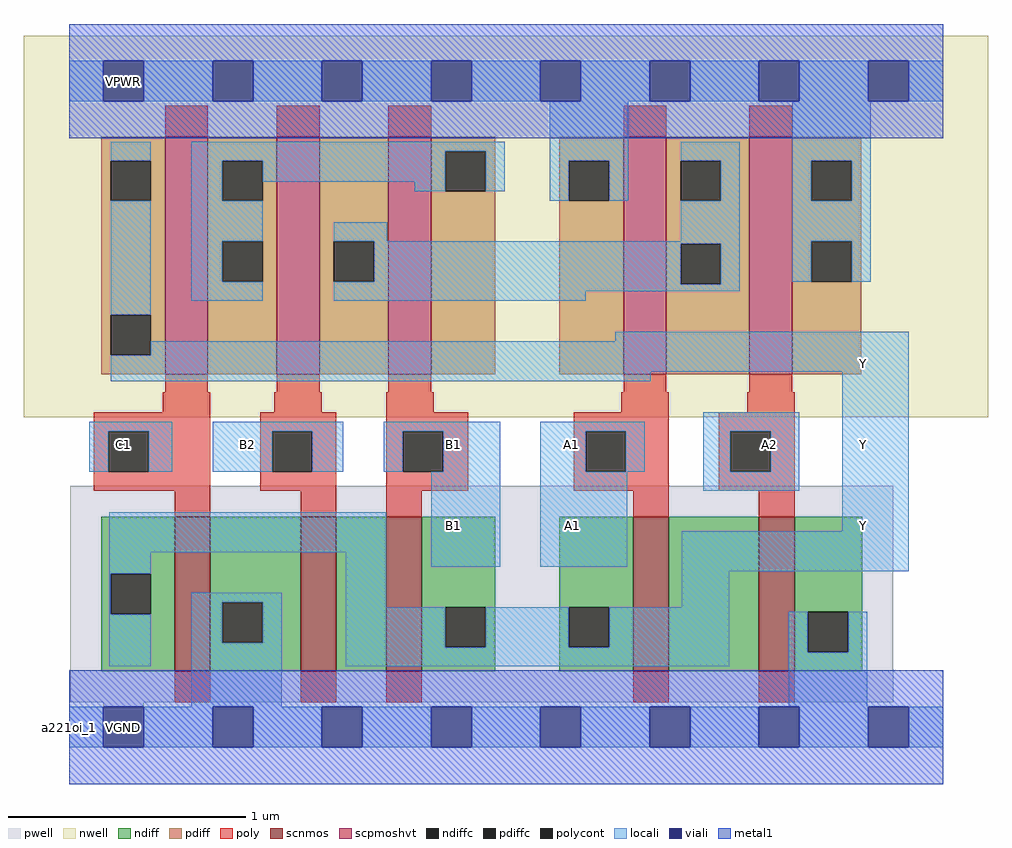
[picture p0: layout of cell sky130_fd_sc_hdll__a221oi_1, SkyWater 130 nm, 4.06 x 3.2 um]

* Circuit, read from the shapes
.subckt sky130_fd_sc_hdll__a221oi_1 A1 A2 B1 B2 C1 VGND VNB VPB VPWR Y
XM1 VGND C1 Y VNB sky130_fd_pr__nfet_01v8 w=0.65 l=0.15
XM2 n1 B2 VGND VNB sky130_fd_pr__nfet_01v8 w=0.65 l=0.15
XM3 Y B1 n1 VNB sky130_fd_pr__nfet_01v8 w=0.65 l=0.15
XM4 n2 A1 Y VNB sky130_fd_pr__nfet_01v8 w=0.65 l=0.15
XM5 VGND A2 n2 VNB sky130_fd_pr__nfet_01v8 w=0.65 l=0.15
XM6 n3 C1 Y VPB sky130_fd_pr__pfet_01v8_hvt w=1 l=0.18
XM7 n4 B2 n3 VPB sky130_fd_pr__pfet_01v8_hvt w=1 l=0.18
XM8 n3 B1 n4 VPB sky130_fd_pr__pfet_01v8_hvt w=1 l=0.18
XM9 n4 A1 VPWR VPB sky130_fd_pr__pfet_01v8_hvt w=1 l=0.18
XM10 VPWR A2 n4 VPB sky130_fd_pr__pfet_01v8_hvt w=1 l=0.18
.ends

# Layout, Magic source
magic
tech sky130A
magscale 1 2
<< nwell >>
rect -38 261 774 582
<< pwell >>
rect 1 21 694 203
rect 29 -17 63 21
<< scnmos >>
rect 89 47 119 177
rect 195 47 225 177
rect 267 47 297 177
rect 475 47 505 177
rect 581 47 611 177
<< scpmoshvt >>
rect 81 297 117 497
rect 175 297 211 497
rect 269 297 305 497
rect 467 297 503 497
rect 573 297 609 497
<< ndiff >>
rect 27 129 89 177
rect 27 95 35 129
rect 69 95 89 129
rect 27 47 89 95
rect 119 105 195 177
rect 119 71 129 105
rect 163 71 195 105
rect 119 47 195 71
rect 225 47 267 177
rect 297 101 359 177
rect 297 67 317 101
rect 351 67 359 101
rect 297 47 359 67
rect 413 101 475 177
rect 413 67 421 101
rect 455 67 475 101
rect 413 47 475 67
rect 505 47 581 177
rect 611 97 668 177
rect 611 63 622 97
rect 656 63 668 97
rect 611 47 668 63
<< pdiff >>
rect 27 477 81 497
rect 27 443 35 477
rect 69 443 81 477
rect 27 347 81 443
rect 27 313 35 347
rect 69 313 81 347
rect 27 297 81 313
rect 117 477 175 497
rect 117 443 129 477
rect 163 443 175 477
rect 117 409 175 443
rect 117 375 129 409
rect 163 375 175 409
rect 117 297 175 375
rect 211 409 269 497
rect 211 375 223 409
rect 257 375 269 409
rect 211 297 269 375
rect 305 485 359 497
rect 305 451 317 485
rect 351 451 359 485
rect 305 297 359 451
rect 413 477 467 497
rect 413 443 421 477
rect 455 443 467 477
rect 413 297 467 443
rect 503 477 573 497
rect 503 443 515 477
rect 549 443 573 477
rect 503 407 573 443
rect 503 373 515 407
rect 549 373 573 407
rect 503 297 573 373
rect 609 477 667 497
rect 609 443 625 477
rect 659 443 667 477
rect 609 409 667 443
rect 609 375 625 409
rect 659 375 667 409
rect 609 297 667 375
<< ndiffc >>
rect 35 95 69 129
rect 129 71 163 105
rect 317 67 351 101
rect 421 67 455 101
rect 622 63 656 97
<< pdiffc >>
rect 35 443 69 477
rect 35 313 69 347
rect 129 443 163 477
rect 129 375 163 409
rect 223 375 257 409
rect 317 451 351 485
rect 421 443 455 477
rect 515 443 549 477
rect 515 373 549 407
rect 625 443 659 477
rect 625 375 659 409
<< poly >>
rect 81 497 117 523
rect 175 497 211 523
rect 269 497 305 523
rect 467 497 503 523
rect 573 497 609 523
rect 81 282 117 297
rect 175 282 211 297
rect 269 282 305 297
rect 467 282 503 297
rect 573 282 609 297
rect 79 265 119 282
rect 173 265 213 282
rect 267 265 307 282
rect 465 265 505 282
rect 571 265 611 282
rect 21 249 119 265
rect 21 215 33 249
rect 67 215 119 249
rect 21 199 119 215
rect 161 249 225 265
rect 161 215 171 249
rect 205 215 225 249
rect 161 199 225 215
rect 89 177 119 199
rect 195 177 225 199
rect 267 249 336 265
rect 267 215 281 249
rect 315 215 336 249
rect 267 199 336 215
rect 425 249 505 265
rect 425 215 435 249
rect 469 215 505 249
rect 425 199 505 215
rect 547 249 611 265
rect 547 215 557 249
rect 591 215 611 249
rect 547 199 611 215
rect 267 177 297 199
rect 475 177 505 199
rect 581 177 611 199
rect 89 21 119 47
rect 195 21 225 47
rect 267 21 297 47
rect 475 21 505 47
rect 581 21 611 47
<< polycont >>
rect 33 215 67 249
rect 171 215 205 249
rect 281 215 315 249
rect 435 215 469 249
rect 557 215 591 249
<< locali >>
rect 0 527 29 561
rect 63 527 121 561
rect 155 527 213 561
rect 247 527 305 561
rect 339 527 397 561
rect 431 527 489 561
rect 523 527 581 561
rect 615 527 673 561
rect 707 527 736 561
rect 35 477 69 493
rect 35 347 69 443
rect 103 485 367 493
rect 103 477 317 485
rect 103 443 129 477
rect 163 459 317 477
rect 291 451 317 459
rect 351 451 367 485
rect 405 477 471 527
rect 405 443 421 477
rect 455 443 471 477
rect 515 477 565 493
rect 549 443 565 477
rect 103 409 163 443
rect 103 375 129 409
rect 103 359 163 375
rect 223 409 268 425
rect 515 409 565 443
rect 257 407 565 409
rect 257 375 515 407
rect 223 373 515 375
rect 549 373 565 407
rect 609 477 675 527
rect 609 443 625 477
rect 659 443 675 477
rect 609 409 675 443
rect 609 375 625 409
rect 659 375 675 409
rect 223 367 565 373
rect 223 359 435 367
rect 460 325 707 333
rect 69 313 707 325
rect 35 299 707 313
rect 35 291 490 299
rect 17 249 87 257
rect 17 215 33 249
rect 67 215 87 249
rect 121 249 231 257
rect 121 215 171 249
rect 205 215 231 249
rect 265 249 363 257
rect 265 215 281 249
rect 315 215 363 249
rect 34 147 267 181
rect 34 129 69 147
rect 34 95 35 129
rect 34 51 69 95
rect 103 105 179 113
rect 103 71 129 105
rect 163 71 179 105
rect 103 17 179 71
rect 233 101 267 147
rect 305 135 363 215
rect 397 249 485 257
rect 397 215 435 249
rect 469 215 485 249
rect 534 249 615 265
rect 534 215 557 249
rect 591 215 615 249
rect 397 135 470 215
rect 534 199 615 215
rect 651 165 707 299
rect 516 131 707 165
rect 516 101 556 131
rect 233 67 317 101
rect 351 67 421 101
rect 455 67 556 101
rect 233 51 556 67
rect 606 63 622 97
rect 656 63 672 97
rect 606 17 672 63
rect 0 -17 29 17
rect 63 -17 121 17
rect 155 -17 213 17
rect 247 -17 305 17
rect 339 -17 397 17
rect 431 -17 489 17
rect 523 -17 581 17
rect 615 -17 673 17
rect 707 -17 736 17
<< viali >>
rect 29 527 63 561
rect 121 527 155 561
rect 213 527 247 561
rect 305 527 339 561
rect 397 527 431 561
rect 489 527 523 561
rect 581 527 615 561
rect 673 527 707 561
rect 29 -17 63 17
rect 121 -17 155 17
rect 213 -17 247 17
rect 305 -17 339 17
rect 397 -17 431 17
rect 489 -17 523 17
rect 581 -17 615 17
rect 673 -17 707 17
<< metal1 >>
rect 0 561 736 592
rect 0 527 29 561
rect 63 527 121 561
rect 155 527 213 561
rect 247 527 305 561
rect 339 527 397 561
rect 431 527 489 561
rect 523 527 581 561
rect 615 527 673 561
rect 707 527 736 561
rect 0 496 736 527
rect 0 17 736 48
rect 0 -17 29 17
rect 63 -17 121 17
rect 155 -17 213 17
rect 247 -17 305 17
rect 339 -17 397 17
rect 431 -17 489 17
rect 523 -17 581 17
rect 615 -17 673 17
rect 707 -17 736 17
rect 0 -48 736 -17
<< labels >>
flabel locali s 652 153 686 187 0 FreeSans 200 0 0 0 Y
port 10 nsew signal output
flabel locali s 652 289 686 323 0 FreeSans 200 0 0 0 Y
port 10 nsew signal output
flabel locali s 652 221 686 255 0 FreeSans 200 0 0 0 Y
port 10 nsew signal output
flabel locali s 29 221 63 255 0 FreeSans 200 0 0 0 C1
port 5 nsew signal input
flabel locali s 406 221 440 255 0 FreeSans 200 0 0 0 A1
port 1 nsew signal input
flabel locali s 573 221 607 255 0 FreeSans 200 0 0 0 A2
port 2 nsew signal input
flabel locali s 133 221 167 255 0 FreeSans 200 0 0 0 B2
port 4 nsew signal input
flabel locali s 307 221 341 255 0 FreeSans 200 0 0 0 B1
port 3 nsew signal input
flabel locali s 407 153 441 187 0 FreeSans 200 0 0 0 A1
port 1 nsew signal input
flabel locali s 307 153 341 187 0 FreeSans 200 0 0 0 B1
port 3 nsew signal input
flabel metal1 s 29 -17 63 17 0 FreeSans 200 0 0 0 VGND
port 6 nsew ground bidirectional
flabel metal1 s 29 527 63 561 0 FreeSans 200 0 0 0 VPWR
port 9 nsew power bidirectional
flabel nwell s 29 527 63 561 0 FreeSans 200 0 0 0 VPB
port 8 nsew power bidirectional
flabel pwell s 29 -17 63 17 0 FreeSans 200 0 0 0 VNB
port 7 nsew ground bidirectional
rlabel comment s 0 0 0 0 4 a221oi_1
<< properties >>
string LEFsite unithd
string LEFclass CORE
string FIXED_BBOX 0 0 736 544
string GDS_FILE $PDKPATH/libs.ref/sky130_fd_sc_hdll/gds/sky130_fd_sc_hdll.gds
string LEFsymmetry X Y R90
string GDS_END 1662672
string GDS_START 1655926
string LEFproperties maskLayoutSubType "abstract" prCellType "standard" originalViewName "layout"
<< end >>
